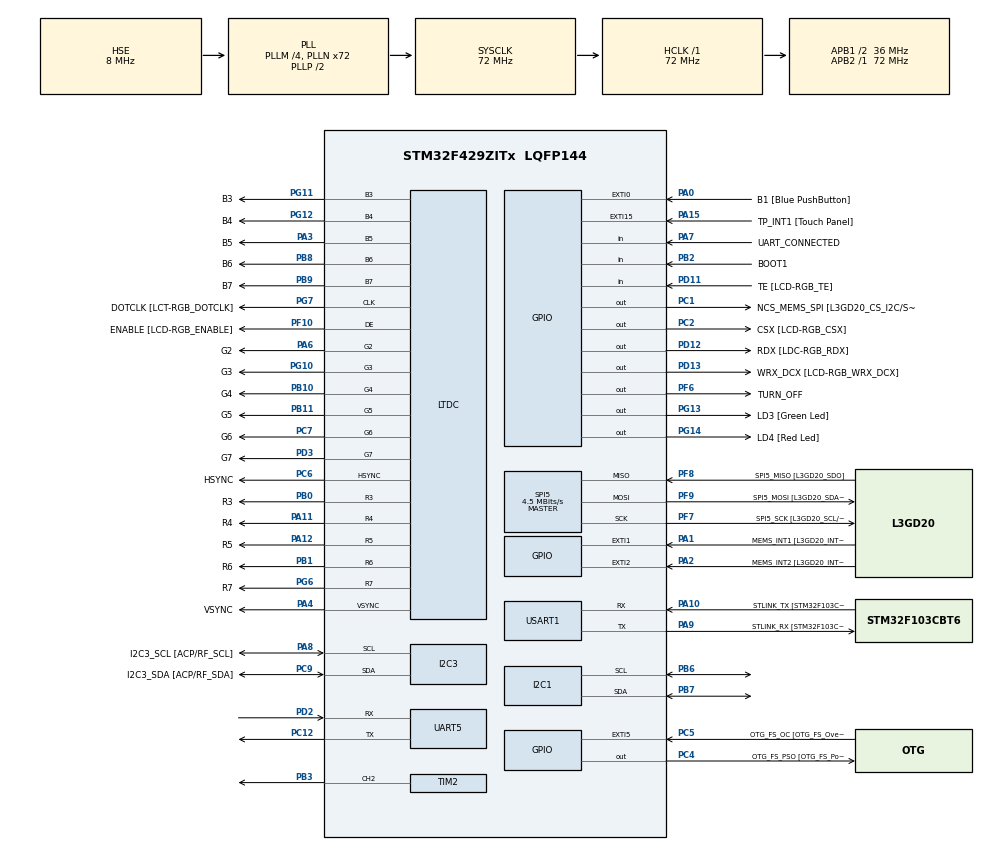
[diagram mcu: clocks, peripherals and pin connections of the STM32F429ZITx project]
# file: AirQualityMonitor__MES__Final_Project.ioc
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Dma.Request0=TIM2_CH2/CH4
Dma.TIM2_CH2/CH4.0.Direction=DMA_MEMORY_TO_PERIPH
Dma.TIM2_CH2/CH4.0.FIFOMode=DMA_FIFOMODE_DISABLE
Dma.TIM2_CH2/CH4.0.Instance=DMA1_Stream6
Dma.TIM2_CH2/CH4.0.MemDataAlignment=DMA_MDATAALIGN_WORD
Dma.TIM2_CH2/CH4.0.MemInc=DMA_MINC_ENABLE
Dma.TIM2_CH2/CH4.0.Mode=DMA_NORMAL
Dma.TIM2_CH2/CH4.0.PeriphDataAlignment=DMA_PDATAALIGN_WORD
Dma.TIM2_CH2/CH4.0.PeriphInc=DMA_PINC_DISABLE
Dma.TIM2_CH2/CH4.0.Priority=DMA_PRIORITY_VERY_HIGH
LTDC.ActiveH=320
LTDC.ActiveW=240
LTDC.Alpha_L0=255
LTDC.BlendingFactor1_L0=LTDC_BLENDING_FACTOR1_PAxCA
LTDC.BlendingFactor2_L0=LTDC_BLENDING_FACTOR2_PAxCA
LTDC.FBStartAdress_L0=0xD0000000
LTDC.HBP=20
LTDC.HFP=10
LTDC.HSync=10
LTDC.ImageHeight_L0=320
LTDC.ImageWidth_L0=240
LTDC.Layers=0
LTDC.PixelFormat_L0=LTDC_PIXEL_FORMAT_RGB565
LTDC.VFP=4
LTDC.VSync=2
LTDC.WindowX1_L0=240
LTDC.WindowY1_L0=320
Mcu.Family=STM32F4
Mcu.Name=STM32F429ZITx
Mcu.Package=LQFP144
NVIC.DMA1_Stream6_IRQn=true\:0\:0\:false\:false\:true\:false\:true\:true
NVIC.DMA2D_IRQn=true\:5\:0\:true\:false\:true\:true\:true\:true
NVIC.EXTI0_IRQn=true\:0\:0\:false\:false\:true\:true\:true\:true
NVIC.LTDC_IRQn=true\:5\:0\:true\:false\:true\:true\:true\:true
NVIC.PriorityGroup=NVIC_PRIORITYGROUP_4
NVIC.TIM6_DAC_IRQn=true\:15\:0\:false\:false\:true\:false\:true\:true
NVIC.TimeBase=TIM6_DAC_IRQn
NVIC.TimeBaseIP=TIM6
PA0/WKUP.GPIO_Label=B1 [Blue PushButton]
PA0/WKUP.GPIO_ModeDefaultEXTI=GPIO_MODE_IT_RISING
PA0/WKUP.GPIO_PuPd=GPIO_NOPULL
PA0/WKUP.Signal=GPXTI0
PA1.GPIO_Label=MEMS_INT1 [L3GD20_INT1]
PA1.GPIO_ModeDefaultEXTI=GPIO_MODE_EVT_RISING
PA1.GPIO_PuPd=GPIO_NOPULL
PA1.Signal=GPXTI1
PA10.GPIO_Label=STLINK_TX [STM32F103CBT6_PA2]
PA10.Mode=Asynchronous
PA10.Signal=USART1_RX
PA11.GPIO_Label=R4
PA11.GPIO_Mode=GPIO_MODE_AF_PP
PA11.GPIO_PuPd=GPIO_NOPULL
PA11.GPIO_Speed=GPIO_SPEED_FREQ_LOW
PA11.Mode=RGB565
PA11.Signal=LTDC_R4
PA12.GPIO_Label=R5
PA12.GPIO_Mode=GPIO_MODE_AF_PP
PA12.GPIO_PuPd=GPIO_NOPULL
PA12.GPIO_Speed=GPIO_SPEED_FREQ_LOW
PA12.Mode=RGB565
PA12.Signal=LTDC_R5
PA13.GPIO_Label=SWDIO
PA13.Mode=Serial_Wire
PA13.Signal=SYS_JTMS-SWDIO
PA14.GPIO_Label=SWCLK
PA14.Mode=Serial_Wire
PA14.Signal=SYS_JTCK-SWCLK
PA15.GPIO_Label=TP_INT1 [Touch Panel]
PA15.GPIO_ModeDefaultEXTI=GPIO_MODE_EVT_RISING
PA15.GPIO_PuPd=GPIO_NOPULL
PA15.Signal=GPXTI15
PA2.GPIO_Label=MEMS_INT2 [L3GD20_INT2]
PA2.GPIO_ModeDefaultEXTI=GPIO_MODE_EVT_RISING
PA2.GPIO_PuPd=GPIO_NOPULL
PA2.Signal=GPXTI2
PA3.GPIO_Label=B5
PA3.GPIO_Mode=GPIO_MODE_AF_PP
PA3.GPIO_PuPd=GPIO_NOPULL
PA3.GPIO_Speed=GPIO_SPEED_FREQ_LOW
PA3.Mode=RGB565
PA3.Signal=LTDC_B5
PA4.GPIO_Label=VSYNC
PA4.GPIO_Mode=GPIO_MODE_AF_PP
PA4.GPIO_PuPd=GPIO_NOPULL
PA4.GPIO_Speed=GPIO_SPEED_FREQ_LOW
PA4.Mode=RGB565
PA4.Signal=LTDC_VSYNC
PA6.GPIO_Label=G2
PA6.GPIO_Mode=GPIO_MODE_AF_PP
PA6.GPIO_PuPd=GPIO_NOPULL
PA6.GPIO_Speed=GPIO_SPEED_FREQ_LOW
PA6.Mode=RGB565
PA6.Signal=LTDC_G2
PA7.GPIO_Label=UART_CONNECTED
PA7.GPIO_PuPd=GPIO_PULLDOWN
PA7.Signal=GPIO_Input
PA8.GPIO_Label=I2C3_SCL [ACP/RF_SCL]
PA8.GPIO_Mode=GPIO_MODE_AF_OD
PA8.GPIO_Pu=GPIO_PULLUP
PA8.GPIO_PuPd=GPIO_NOPULL
PA8.GPIO_Speed=GPIO_SPEED_FREQ_LOW
PA8.Mode=I2C
PA8.Signal=I2C3_SCL
PA9.GPIO_Label=STLINK_RX [STM32F103CBT6_PA3]
PA9.Mode=Asynchronous
PA9.Signal=USART1_TX
PB0.GPIO_Label=R3
PB0.GPIO_Mode=GPIO_MODE_AF_PP
PB0.GPIO_PuPd=GPIO_NOPULL
PB0.GPIO_Speed=GPIO_SPEED_FREQ_LOW
PB0.Mode=RGB565
PB0.Signal=LTDC_R3
PB1.GPIO_Label=R6
PB1.GPIO_Mode=GPIO_MODE_AF_PP
PB1.GPIO_PuPd=GPIO_NOPULL
PB1.GPIO_Speed=GPIO_SPEED_FREQ_LOW
PB1.Mode=RGB565
PB1.Signal=LTDC_R6
PB10.GPIO_Label=G4
PB10.GPIO_Mode=GPIO_MODE_AF_PP
PB10.GPIO_PuPd=GPIO_NOPULL
PB10.GPIO_Speed=GPIO_SPEED_FREQ_LOW
PB10.Mode=RGB565
PB10.Signal=LTDC_G4
PB11.GPIO_Label=G5
PB11.GPIO_Mode=GPIO_MODE_AF_PP
PB11.GPIO_PuPd=GPIO_NOPULL
PB11.GPIO_Speed=GPIO_SPEED_FREQ_LOW
PB11.Mode=RGB565
PB11.Signal=LTDC_G5
PB12.GPIO_Label=OTG_HS_ID
PB12.GPIO_Mode=GPIO_MODE_AF_PP
PB12.GPIO_PuPd=GPIO_NOPULL
PB12.GPIO_Speed=GPIO_SPEED_FREQ_LOW
PB12.Signal=USB_OTG_HS_ID
PB13.GPIO_Label=VBUS_HS
PB13.GPIO_Mode=GPIO_MODE_INPUT
PB13.GPIO_PuPd=GPIO_NOPULL
PB13.Signal=USB_OTG_HS_VBUS
PB14.GPIO_Label=OTG_HS_DM
PB14.GPIO_Mode=GPIO_MODE_AF_PP
PB14.GPIO_PuPd=GPIO_NOPULL
PB14.GPIO_Speed=GPIO_SPEED_FREQ_LOW
PB14.Signal=USB_OTG_HS_DM
PB15.GPIO_Label=OTG_HS_DP
PB15.GPIO_Mode=GPIO_MODE_AF_PP
PB15.GPIO_PuPd=GPIO_NOPULL
PB15.GPIO_Speed=GPIO_SPEED_FREQ_LOW
PB15.Signal=USB_OTG_HS_DP
PB2/BOOT1.GPIO_Label=BOOT1
PB2/BOOT1.GPIO_Mode=GPIO_MODE_INPUT
PB2/BOOT1.GPIO_PuPd=GPIO_NOPULL
PB2/BOOT1.Signal=GPIO_Input
PB3.Signal=S_TIM2_CH2
PB5.GPIO_Label=SDCKE1
PB5.GPIO_Mode=GPIO_MODE_AF_PP
PB5.GPIO_PuPd=GPIO_NOPULL
PB5.GPIO_Speed=GPIO_SPEED_FREQ_VERY_HIGH
PB5.Signal=FMC_SDCKE1
PB6.Mode=I2C
PB6.Signal=I2C1_SCL
PB7.Mode=I2C
PB7.Signal=I2C1_SDA
PB8.GPIO_Label=B6
PB8.GPIO_Mode=GPIO_MODE_AF_PP
PB8.GPIO_PuPd=GPIO_NOPULL
PB8.GPIO_Speed=GPIO_SPEED_FREQ_LOW
PB8.Mode=RGB565
PB8.Signal=LTDC_B6
PB9.GPIO_Label=B7
PB9.GPIO_Mode=GPIO_MODE_AF_PP
PB9.GPIO_PuPd=GPIO_NOPULL
PB9.GPIO_Speed=GPIO_SPEED_FREQ_LOW
PB9.Mode=RGB565
PB9.Signal=LTDC_B7
PC0.GPIO_Label=SDNWE
PC0.GPIO_Mode=GPIO_MODE_AF_PP
PC0.GPIO_PuPd=GPIO_NOPULL
PC0.GPIO_Speed=GPIO_SPEED_FREQ_VERY_HIGH
PC0.Signal=FMC_SDNWE
PC1.GPIO_Label=NCS_MEMS_SPI [L3GD20_CS_I2C/SPI]
PC1.GPIO_Mode=GPIO_MODE_OUTPUT_PP
PC1.GPIO_PuPd=GPIO_NOPULL
PC1.GPIO_Speed=GPIO_SPEED_FREQ_LOW
PC1.Signal=GPIO_Output
PC10.GPIO_Label=R2
PC10.GPIO_Mode=GPIO_MODE_AF_PP
PC10.GPIO_PuPd=GPIO_NOPULL
PC10.GPIO_Speed=GPIO_SPEED_FREQ_LOW
PC10.Signal=LTDC_R2
PC12.Mode=Asynchronous
PC12.Signal=UART5_TX
PC14/OSC32_IN.GPIO_Label=PC14-OSC32_IN
PC14/OSC32_IN.Signal=RCC_OSC32_IN
PC15/OSC32_OUT.GPIO_Label=PC15-OSC32_OUT
PC15/OSC32_OUT.Signal=RCC_OSC32_OUT
PC2.GPIO_Label=CSX [LCD-RGB_CSX]
PC2.GPIO_Mode=GPIO_MODE_OUTPUT_PP
PC2.GPIO_PuPd=GPIO_NOPULL
PC2.GPIO_Speed=GPIO_SPEED_FREQ_LOW
PC2.Signal=GPIO_Output
PC4.GPIO_Label=OTG_FS_PSO [OTG_FS_PowerSwitchOn]
PC4.GPIO_Mode=GPIO_MODE_OUTPUT_PP
PC4.GPIO_PuPd=GPIO_NOPULL
PC4.GPIO_Speed=GPIO_SPEED_FREQ_LOW
PC4.Signal=GPIO_Output
PC5.GPIO_Label=OTG_FS_OC [OTG_FS_OverCurrent]
PC5.GPIO_ModeDefaultEXTI=GPIO_MODE_EVT_RISING
PC5.Signal=GPXTI5
PC6.GPIO_Label=HSYNC
PC6.GPIO_Mode=GPIO_MODE_AF_PP
PC6.GPIO_PuPd=GPIO_NOPULL
PC6.GPIO_Speed=GPIO_SPEED_FREQ_LOW
PC6.Mode=RGB565
PC6.Signal=LTDC_HSYNC
PC7.GPIO_Label=G6
PC7.GPIO_Mode=GPIO_MODE_AF_PP
PC7.GPIO_PuPd=GPIO_NOPULL
PC7.GPIO_Speed=GPIO_SPEED_FREQ_LOW
PC7.Mode=RGB565
PC7.Signal=LTDC_G6
PC9.GPIO_Label=I2C3_SDA [ACP/RF_SDA]
PC9.GPIO_Mode=GPIO_MODE_AF_OD
PC9.GPIO_Pu=GPIO_PULLUP
PC9.GPIO_PuPd=GPIO_NOPULL
PC9.GPIO_Speed=GPIO_SPEED_FREQ_LOW
PC9.Mode=I2C
PC9.Signal=I2C3_SDA
PD0.GPIO_Label=D2
PD0.GPIO_Mode=GPIO_MODE_AF_PP
PD0.GPIO_PuPd=GPIO_NOPULL
PD0.GPIO_Speed=GPIO_SPEED_FREQ_VERY_HIGH
PD0.Signal=FMC_D2_DA2
PD1.GPIO_Label=D3
PD1.GPIO_Mode=GPIO_MODE_AF_PP
PD1.GPIO_PuPd=GPIO_NOPULL
PD1.GPIO_Speed=GPIO_SPEED_FREQ_VERY_HIGH
PD1.Signal=FMC_D3_DA3
PD10.GPIO_Label=D15
PD10.GPIO_Mode=GPIO_MODE_AF_PP
PD10.GPIO_PuPd=GPIO_NOPULL
PD10.GPIO_Speed=GPIO_SPEED_FREQ_VERY_HIGH
PD10.Signal=FMC_D15_DA15
PD11.GPIO_Label=TE [LCD-RGB_TE]
PD11.GPIO_Mode=GPIO_MODE_INPUT
PD11.GPIO_PuPd=GPIO_NOPULL
PD11.Signal=GPIO_Input
PD12.GPIO_Label=RDX [LDC-RGB_RDX]
PD12.GPIO_Mode=GPIO_MODE_OUTPUT_PP
PD12.GPIO_PuPd=GPIO_NOPULL
PD12.GPIO_Speed=GPIO_SPEED_FREQ_LOW
PD12.Signal=GPIO_Output
PD13.GPIO_Label=WRX_DCX [LCD-RGB_WRX_DCX]
PD13.GPIO_Mode=GPIO_MODE_OUTPUT_PP
PD13.GPIO_PuPd=GPIO_NOPULL
PD13.GPIO_Speed=GPIO_SPEED_FREQ_LOW
PD13.Signal=GPIO_Output
PD14.GPIO_Label=D0
PD14.GPIO_Mode=GPIO_MODE_AF_PP
PD14.GPIO_PuPd=GPIO_NOPULL
PD14.GPIO_Speed=GPIO_SPEED_FREQ_VERY_HIGH
PD14.Signal=FMC_D0_DA0
PD15.GPIO_Label=D1
PD15.GPIO_Mode=GPIO_MODE_AF_PP
PD15.GPIO_PuPd=GPIO_NOPULL
PD15.GPIO_Speed=GPIO_SPEED_FREQ_VERY_HIGH
PD15.Signal=FMC_D1_DA1
PD2.Mode=Asynchronous
PD2.Signal=UART5_RX
PD3.GPIO_Label=G7
PD3.GPIO_Mode=GPIO_MODE_AF_PP
PD3.GPIO_PuPd=GPIO_NOPULL
PD3.GPIO_Speed=GPIO_SPEED_FREQ_LOW
PD3.Mode=RGB565
PD3.Signal=LTDC_G7
PD6.GPIO_Label=B2
PD6.GPIO_Mode=GPIO_MODE_AF_PP
PD6.GPIO_PuPd=GPIO_NOPULL
PD6.GPIO_Speed=GPIO_SPEED_FREQ_LOW
PD6.Signal=LTDC_B2
PD8.GPIO_Label=D13
PD8.GPIO_Mode=GPIO_MODE_AF_PP
PD8.GPIO_PuPd=GPIO_NOPULL
PD8.GPIO_Speed=GPIO_SPEED_FREQ_VERY_HIGH
PD8.Signal=FMC_D13_DA13
PD9.GPIO_Label=D14
PD9.GPIO_Mode=GPIO_MODE_AF_PP
PD9.GPIO_PuPd=GPIO_NOPULL
PD9.GPIO_Speed=GPIO_SPEED_FREQ_VERY_HIGH
PD9.Signal=FMC_D14_DA14
PE0.GPIO_Label=NBL0 [SDRAM_LDQM]
PE0.GPIO_Mode=GPIO_MODE_AF_PP
PE0.GPIO_PuPd=GPIO_NOPULL
PE0.GPIO_Speed=GPIO_SPEED_FREQ_VERY_HIGH
PE0.Signal=FMC_NBL0
PE1.GPIO_Label=NBL1 [SDRAM_UDQM]
PE1.GPIO_Mode=GPIO_MODE_AF_PP
PE1.GPIO_PuPd=GPIO_NOPULL
PE1.GPIO_Speed=GPIO_SPEED_FREQ_VERY_HIGH
PE1.Signal=FMC_NBL1
PE10.GPIO_Label=D7
PE10.GPIO_Mode=GPIO_MODE_AF_PP
PE10.GPIO_PuPd=GPIO_NOPULL
PE10.GPIO_Speed=GPIO_SPEED_FREQ_VERY_HIGH
PE10.Signal=FMC_D7_DA7
PE11.GPIO_Label=D8
PE11.GPIO_Mode=GPIO_MODE_AF_PP
PE11.GPIO_PuPd=GPIO_NOPULL
PE11.GPIO_Speed=GPIO_SPEED_FREQ_VERY_HIGH
PE11.Signal=FMC_D8_DA8
PE12.GPIO_Label=D9
PE12.GPIO_Mode=GPIO_MODE_AF_PP
PE12.GPIO_PuPd=GPIO_NOPULL
PE12.GPIO_Speed=GPIO_SPEED_FREQ_VERY_HIGH
PE12.Signal=FMC_D9_DA9
PE13.GPIO_Label=D10
PE13.GPIO_Mode=GPIO_MODE_AF_PP
PE13.GPIO_PuPd=GPIO_NOPULL
PE13.GPIO_Speed=GPIO_SPEED_FREQ_VERY_HIGH
PE13.Signal=FMC_D10_DA10
PE14.GPIO_Label=D11
PE14.GPIO_Mode=GPIO_MODE_AF_PP
PE14.GPIO_PuPd=GPIO_NOPULL
PE14.GPIO_Speed=GPIO_SPEED_FREQ_VERY_HIGH
PE14.Signal=FMC_D11_DA11
PE15.GPIO_Label=D12
PE15.GPIO_Mode=GPIO_MODE_AF_PP
PE15.GPIO_PuPd=GPIO_NOPULL
PE15.GPIO_Speed=GPIO_SPEED_FREQ_VERY_HIGH
PE15.Signal=FMC_D12_DA12
PE7.GPIO_Label=D4
PE7.GPIO_Mode=GPIO_MODE_AF_PP
PE7.GPIO_PuPd=GPIO_NOPULL
PE7.GPIO_Speed=GPIO_SPEED_FREQ_VERY_HIGH
PE7.Signal=FMC_D4_DA4
PE8.GPIO_Label=D5
PE8.GPIO_Mode=GPIO_MODE_AF_PP
PE8.GPIO_PuPd=GPIO_NOPULL
PE8.GPIO_Speed=GPIO_SPEED_FREQ_VERY_HIGH
PE8.Signal=FMC_D5_DA5
PE9.Signal=S_TIM1_CH1
PF0.GPIO_Label=A0
PF0.GPIO_Mode=GPIO_MODE_AF_PP
PF0.GPIO_PuPd=GPIO_NOPULL
PF0.GPIO_Speed=GPIO_SPEED_FREQ_VERY_HIGH
PF0.Signal=FMC_A0
PF1.GPIO_Label=A1
PF1.GPIO_Mode=GPIO_MODE_AF_PP
PF1.GPIO_PuPd=GPIO_NOPULL
PF1.GPIO_Speed=GPIO_SPEED_FREQ_VERY_HIGH
PF1.Signal=FMC_A1
PF10.GPIO_Label=ENABLE [LCD-RGB_ENABLE]
PF10.GPIO_Mode=GPIO_MODE_AF_PP
PF10.GPIO_PuPd=GPIO_NOPULL
PF10.GPIO_Speed=GPIO_SPEED_FREQ_LOW
PF10.Mode=RGB565
PF10.Signal=LTDC_DE
PF11.GPIO_Label=SDNRAS
PF11.GPIO_Mode=GPIO_MODE_AF_PP
PF11.GPIO_PuPd=GPIO_NOPULL
PF11.GPIO_Speed=GPIO_SPEED_FREQ_VERY_HIGH
PF11.Signal=FMC_SDNRAS
PF12.GPIO_Label=A6
PF12.GPIO_Mode=GPIO_MODE_AF_PP
PF12.GPIO_PuPd=GPIO_NOPULL
PF12.GPIO_Speed=GPIO_SPEED_FREQ_VERY_HIGH
PF12.Signal=FMC_A6
PF13.GPIO_Label=A7
PF13.GPIO_Mode=GPIO_MODE_AF_PP
PF13.GPIO_PuPd=GPIO_NOPULL
PF13.GPIO_Speed=GPIO_SPEED_FREQ_VERY_HIGH
PF13.Signal=FMC_A7
PF14.GPIO_Label=A8
PF14.GPIO_Mode=GPIO_MODE_AF_PP
PF14.GPIO_PuPd=GPIO_NOPULL
PF14.GPIO_Speed=GPIO_SPEED_FREQ_VERY_HIGH
PF14.Signal=FMC_A8
PF15.GPIO_Label=A9
PF15.GPIO_Mode=GPIO_MODE_AF_PP
PF15.GPIO_PuPd=GPIO_NOPULL
PF15.GPIO_Speed=GPIO_SPEED_FREQ_VERY_HIGH
PF15.Signal=FMC_A9
PF2.GPIO_Label=A2
PF2.GPIO_Mode=GPIO_MODE_AF_PP
PF2.GPIO_PuPd=GPIO_NOPULL
PF2.GPIO_Speed=GPIO_SPEED_FREQ_VERY_HIGH
PF2.Signal=FMC_A2
PF3.GPIO_Label=A3
PF3.GPIO_Mode=GPIO_MODE_AF_PP
PF3.GPIO_PuPd=GPIO_NOPULL
PF3.GPIO_Speed=GPIO_SPEED_FREQ_VERY_HIGH
PF3.Signal=FMC_A3
PF4.GPIO_Label=A4
PF4.GPIO_Mode=GPIO_MODE_AF_PP
PF4.GPIO_PuPd=GPIO_NOPULL
PF4.GPIO_Speed=GPIO_SPEED_FREQ_VERY_HIGH
PF4.Signal=FMC_A4
PF5.GPIO_Label=A5
PF5.GPIO_Mode=GPIO_MODE_AF_PP
PF5.GPIO_PuPd=GPIO_NOPULL
PF5.GPIO_Speed=GPIO_SPEED_FREQ_VERY_HIGH
PF5.Signal=FMC_A5
PF6.GPIO_Label=TURN_OFF
PF6.GPIO_PuPd=GPIO_PULLDOWN
PF6.Signal=GPIO_Output
PF7.GPIO_Label=SPI5_SCK [L3GD20_SCL/SPC]
PF7.GPIO_Mode=GPIO_MODE_AF_PP
PF7.GPIO_PuPd=GPIO_NOPULL
PF7.GPIO_Speed=GPIO_SPEED_FREQ_LOW
PF7.Mode=Full_Duplex_Master
PF7.Signal=SPI5_SCK
PF8.GPIO_Label=SPI5_MISO [L3GD20_SDO]
PF8.GPIO_Mode=GPIO_MODE_AF_PP
PF8.GPIO_PuPd=GPIO_NOPULL
PF8.GPIO_Speed=GPIO_SPEED_FREQ_LOW
PF8.Mode=Full_Duplex_Master
PF8.Signal=SPI5_MISO
PF9.GPIO_Label=SPI5_MOSI [L3GD20_SDA/SDI/SDO]
PF9.GPIO_Mode=GPIO_MODE_AF_PP
PF9.GPIO_PuPd=GPIO_NOPULL
PF9.GPIO_Speed=GPIO_SPEED_FREQ_LOW
PF9.Mode=Full_Duplex_Master
PF9.Signal=SPI5_MOSI
PG0.GPIO_Label=A10
PG0.GPIO_Mode=GPIO_MODE_AF_PP
PG0.GPIO_PuPd=GPIO_NOPULL
PG0.GPIO_Speed=GPIO_SPEED_FREQ_VERY_HIGH
PG0.Signal=FMC_A10
PG1.GPIO_Label=A11
PG1.GPIO_Mode=GPIO_MODE_AF_PP
PG1.GPIO_PuPd=GPIO_NOPULL
PG1.GPIO_Speed=GPIO_SPEED_FREQ_VERY_HIGH
PG1.Signal=FMC_A11
PG10.GPIO_Label=G3
PG10.GPIO_Mode=GPIO_MODE_AF_PP
PG10.GPIO_PuPd=GPIO_NOPULL
PG10.GPIO_Speed=GPIO_SPEED_FREQ_LOW
PG10.Mode=RGB565
PG10.Signal=LTDC_G3
PG11.GPIO_Label=B3
PG11.GPIO_Mode=GPIO_MODE_AF_PP
PG11.GPIO_PuPd=GPIO_NOPULL
PG11.GPIO_Speed=GPIO_SPEED_FREQ_LOW
PG11.Mode=RGB565
PG11.Signal=LTDC_B3
PG12.GPIO_Label=B4
PG12.GPIO_Mode=GPIO_MODE_AF_PP
PG12.GPIO_PuPd=GPIO_NOPULL
PG12.GPIO_Speed=GPIO_SPEED_FREQ_LOW
PG12.Mode=RGB565
PG12.Signal=LTDC_B4
PG13.GPIO_Label=LD3 [Green Led]
PG13.GPIO_Mode=GPIO_MODE_OUTPUT_PP
PG13.GPIO_PuPd=GPIO_NOPULL
PG13.GPIO_Speed=GPIO_SPEED_FREQ_LOW
PG13.Signal=GPIO_Output
PG14.GPIO_Label=LD4 [Red Led]
PG14.GPIO_Mode=GPIO_MODE_OUTPUT_PP
PG14.GPIO_PuPd=GPIO_NOPULL
PG14.GPIO_Speed=GPIO_SPEED_FREQ_LOW
PG14.Signal=GPIO_Output
PG15.GPIO_Label=SDNCAS
PG15.GPIO_Mode=GPIO_MODE_AF_PP
PG15.GPIO_PuPd=GPIO_NOPULL
PG15.GPIO_Speed=GPIO_SPEED_FREQ_VERY_HIGH
PG15.Signal=FMC_SDNCAS
PG4.GPIO_Label=BA0
PG4.GPIO_Mode=GPIO_MODE_AF_PP
PG4.GPIO_PuPd=GPIO_NOPULL
PG4.GPIO_Speed=GPIO_SPEED_FREQ_VERY_HIGH
PG4.Signal=FMC_A14_BA0
PG5.GPIO_Label=BA1
PG5.GPIO_Mode=GPIO_MODE_AF_PP
PG5.GPIO_PuPd=GPIO_NOPULL
PG5.GPIO_Speed=GPIO_SPEED_FREQ_VERY_HIGH
PG5.Signal=FMC_A15_BA1
PG6.GPIO_Label=R7
PG6.GPIO_Mode=GPIO_MODE_AF_PP
PG6.GPIO_PuPd=GPIO_NOPULL
PG6.GPIO_Speed=GPIO_SPEED_FREQ_LOW
PG6.Mode=RGB565
PG6.Signal=LTDC_R7
PG7.GPIO_Label=DOTCLK [LCT-RGB_DOTCLK]
PG7.GPIO_Mode=GPIO_MODE_AF_PP
PG7.GPIO_PuPd=GPIO_NOPULL
PG7.GPIO_Speed=GPIO_SPEED_FREQ_LOW
PG7.Mode=RGB565
PG7.Signal=LTDC_CLK
PG8.GPIO_Label=SDCLK
PG8.GPIO_Mode=GPIO_MODE_AF_PP
PG8.GPIO_PuPd=GPIO_NOPULL
PG8.GPIO_Speed=GPIO_SPEED_FREQ_VERY_HIGH
PG8.Signal=FMC_SDCLK
PH0/OSC_IN.GPIO_Label=PH0-OSC_IN
PH0/OSC_IN.Mode=HSE-External-Oscillator
PH0/OSC_IN.Signal=RCC_OSC_IN
PH1/OSC_OUT.GPIO_Label=PH1-OSC_OUT
PH1/OSC_OUT.Mode=HSE-External-Oscillator
PH1/OSC_OUT.Signal=RCC_OSC_OUT
ProjectManager.HeapSize=0x200
ProjectManager.StackSize=0x400
ProjectManager.TargetToolchain=STM32CubeIDE
RCC.48MHZClocksFreq_Value=48000000
RCC.AHBFreq_Value=72000000
RCC.APB1CLKDivider=RCC_HCLK_DIV2
RCC.APB1Freq_Value=36000000
RCC.APB1TimFreq_Value=72000000
RCC.APB2Freq_Value=72000000
RCC.APB2TimFreq_Value=72000000
RCC.CortexFreq_Value=72000000
RCC.HCLKFreq_Value=72000000
RCC.HSE_VALUE=8000000
RCC.HSI_VALUE=16000000
RCC.LSE_VALUE=32768
RCC.PLLM=4
RCC.PLLN=72
RCC.PLLQ=3
RCC.PLLSAIDivR=RCC_PLLSAIDIVR_4
RCC.PLLSAIN=72
RCC.PLLSAIR=6
RCC.PLLSourceVirtual=RCC_PLLSOURCE_HSE
RCC.SYSCLKFreq_VALUE=72000000
RCC.SYSCLKSource=RCC_SYSCLKSOURCE_PLLCLK
RCC.VCOOutputFreq_Value=144000000
SH.FMC_A0.0=FMC_A0
SH.FMC_A1.0=FMC_A1
SH.FMC_A10.0=FMC_A10
SH.FMC_A11.0=FMC_A11
SH.FMC_A14_BA0.0=FMC_BA0
SH.FMC_A15_BA1.0=FMC_BA1
SH.FMC_A2.0=FMC_A2
SH.FMC_A3.0=FMC_A3
SH.FMC_A4.0=FMC_A4
SH.FMC_A5.0=FMC_A5
SH.FMC_A6.0=FMC_A6
SH.FMC_A7.0=FMC_A7
SH.FMC_A8.0=FMC_A8
SH.FMC_A9.0=FMC_A9
SH.FMC_D0_DA0.0=FMC_D0
SH.FMC_D10_DA10.0=FMC_D10
SH.FMC_D11_DA11.0=FMC_D11
SH.FMC_D12_DA12.0=FMC_D12
SH.FMC_D13_DA13.0=FMC_D13
SH.FMC_D14_DA14.0=FMC_D14
SH.FMC_D15_DA15.0=FMC_D15
SH.FMC_D1_DA1.0=FMC_D1
SH.FMC_D2_DA2.0=FMC_D2
SH.FMC_D3_DA3.0=FMC_D3
SH.FMC_D4_DA4.0=FMC_D4
SH.FMC_D5_DA5.0=FMC_D5
SH.FMC_D7_DA7.0=FMC_D7
SH.FMC_D8_DA8.0=FMC_D8
SH.FMC_D9_DA9.0=FMC_D9
SH.FMC_NBL0.0=FMC_NBL0
SH.FMC_NBL1.0=FMC_NBL1
SH.FMC_SDCLK.0=FMC_SDCLK
SH.FMC_SDNCAS.0=FMC_SDNCAS
SH.FMC_SDNRAS.0=FMC_SDNRAS
SH.FMC_SDNWE.0=FMC_SDNWE
SH.S_TIM1_CH1.0=TIM1_CH1
SH.S_TIM2_CH2.0=TIM2_CH2,PWM Generation2 CH2
SPI5.BaudRatePrescaler=SPI_BAUDRATEPRESCALER_16
SPI5.CalculateBaudRate=4.5 MBits/s
SPI5.Direction=SPI_DIRECTION_2LINES
SPI5.Mode=SPI_MODE_MASTER
SPI5.VirtualType=VM_MASTER
STMicroelectronics.X-CUBE-TOUCHGFX.4.19.1.ApplicationCcGraphicsJjApplication=TouchGFXOoGenerator
STMicroelectronics.X-CUBE-TOUCHGFX.4.19.1.tgfx_display_interface=disp_ltdc
STMicroelectronics.X-CUBE-TOUCHGFX.4.19.1.tgfx_hardware_accelerator=dma_2d
STMicroelectronics.X-CUBE-TOUCHGFX.4.19.1.tgfx_vsync=vsync_ltdc
STMicroelectronics.X-CUBE-TOUCHGFX.4.19.1_IsPackSelfContextualization=true
TIM2.Channel-PWM\ Generation2\ CH2=TIM_CHANNEL_2
TIM2.OCFastMode_PWM-PWM\ Generation2\ CH2=TIM_OCFAST_ENABLE
TIM2.Period=90-1
UART5.VirtualMode=Asynchronous
USART1.VirtualMode=VM_ASYNC
VP_CRC_VS_CRC.Mode=CRC_Activate
VP_DMA2D_VS_DMA2D.Mode=DMA2D_Activate
VP_STMicroelectronics.X-CUBE-TOUCHGFX_VS_GraphicsJjApplication_4.19.1.Mode=GraphicsJjApplication
VP_SYS_VS_tim6.Mode=TIM6
VP_TIM1_VS_ClockSourceINT.Mode=Internal
board=STM32F429I-DISC1

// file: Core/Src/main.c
/* USER CODE BEGIN Header */
/**
  ******************************************************************************
  * @file           : main.c
  * @brief          : Main program body
  ******************************************************************************
  * @attention
  *
  * Copyright (c) 2022 STMicroelectronics.
  * All rights reserved.
  *
  * This software is licensed under terms that can be found in the LICENSE file
  * in the root directory of this software component.
  * If no LICENSE file comes with this software, it is provided AS-IS.
  *
  ******************************************************************************
   *  Created on: May 23, 2022
   *      User code author: snkYmkrct
  ******************************************************************************
 **/
/* USER CODE END Header */
#include "main.h"
#include "app_touchgfx.h"

/* USER CODE BEGIN Includes */
#include <stdio.h>
#include <stdbool.h>
#include "ili9341.h"
#include "console.h"
#include "consoleIo.h"
#include "peripheral_data.h"

/* USER CODE END Includes */

 CRC_HandleTypeDef hcrc;

DMA2D_HandleTypeDef hdma2d;

I2C_HandleTypeDef hi2c1;
I2C_HandleTypeDef hi2c3;

LTDC_HandleTypeDef hltdc;

SPI_HandleTypeDef hspi5;

TIM_HandleTypeDef htim1;
TIM_HandleTypeDef htim2;
DMA_HandleTypeDef hdma_tim2_ch2_ch4;

UART_HandleTypeDef huart5;
UART_HandleTypeDef huart1;

/* USER CODE BEGIN PV */
uint8_t isConsoleStarted = 0u;

// global variable that is set by the interrupt when button is pressed
// To the compiler :  Can't touch this!
volatile GPIO_PinState MyButtonPressed = 0u;
/* USER CODE END PV */

void SystemClock_Config(void);
static void MX_GPIO_Init(void);
static void MX_CRC_Init(void);
static void MX_DMA2D_Init(void);
static void MX_I2C3_Init(void);
static void MX_LTDC_Init(void);
static void MX_SPI5_Init(void);
static void MX_TIM1_Init(void);
static void MX_USART1_UART_Init(void);
static void MX_UART5_Init(void);
static void MX_DMA_Init(void);
static void MX_I2C1_Init(void);
static void MX_TIM2_Init(void);

/* USER CODE BEGIN 0 */
int __io_putchar(int ch) {
	HAL_UART_Transmit(&huart5, (uint8_t*)&ch, 1, HAL_MAX_DELAY);

	return ch;
}

int __io_getchar(void) {
	uint8_t ch = 0;

	HAL_UART_Receive(&huart5, &ch, 1, HAL_MAX_DELAY);

	return ch;
}
/* USER CODE END 0 */

int main(void)
{

  /* MCU Configuration--------------------------------------------------------*/

  /* Reset of all peripherals, Initializes the Flash interface and the Systick. */
  HAL_Init();

  /* Configure the system clock */
  SystemClock_Config();

  /* USER CODE BEGIN SysInit */
  setvbuf(stdin, NULL, _IONBF, 0);  // to make scanf work
  /* USER CODE END SysInit */

  /* Initialize all configured peripherals */
  MX_GPIO_Init();
  MX_CRC_Init();
  MX_DMA2D_Init();
  MX_I2C3_Init();
  MX_LTDC_Init();
  MX_SPI5_Init();
  MX_TIM1_Init();
  MX_USART1_UART_Init();
  MX_UART5_Init();
  MX_DMA_Init();
  MX_I2C1_Init();
  MX_TIM2_Init();
  MX_TouchGFX_Init();

  /* USER CODE BEGIN 2 */

  HAL_GPIO_WritePin(TURN_OFF_GPIO_Port, TURN_OFF_Pin, GPIO_PIN_RESET);
  MyButtonPressed = HAL_GPIO_ReadPin(B1_GPIO_Port, B1_Pin);

  peripheralInitValues();

  /* USER CODE END 2 */

  /* Infinite loop */
  /* USER CODE BEGIN WHILE */
  while (1)
  {
	  GPIO_PinState UartPinConnected = HAL_GPIO_ReadPin(UART_CONNECTED_GPIO_Port, UART_CONNECTED_Pin);
	  HAL_GPIO_WritePin(LD3_GPIO_Port, LD3_Pin, UartPinConnected);

	  if (MyButtonPressed == GPIO_PIN_SET){
		  if (isConsoleStarted){
			  printf("   User button pressed   \r\n");
			  ConsoleIoSendString(STR_ENDLINE);
			  ConsoleIoSendString(CONSOLE_PROMPT);
		  }
		  else {
			  if (UartPinConnected == GPIO_PIN_SET){
				  ConsoleInit();
				  ConsoleIoSendString(STR_ENDLINE);
				  ConsoleIoSendString(CONSOLE_PROMPT);
				  isConsoleStarted = 1u;
			  }
			  else {
				  // test turn off pin
				  HAL_GPIO_WritePin(TURN_OFF_GPIO_Port, TURN_OFF_Pin, GPIO_PIN_SET);
			  }
		  }
		  MyButtonPressed = GPIO_PIN_RESET;
	  }

	  if (isConsoleStarted){
		  ConsoleProcess();
	  }
	  else {
		  peripheralUpdateValues();
		  peripheralUpdateNeopixelsfromCO2();
	  }

    /* USER CODE END WHILE */

  MX_TouchGFX_Process();
  }
}

void SystemClock_Config(void)
{
  RCC_OscInitTypeDef RCC_OscInitStruct = {0};
  RCC_ClkInitTypeDef RCC_ClkInitStruct = {0};

  /** Configure the main internal regulator output voltage
  */
  __HAL_RCC_PWR_CLK_ENABLE();
  __HAL_PWR_VOLTAGESCALING_CONFIG(PWR_REGULATOR_VOLTAGE_SCALE3);

  /** Initializes the RCC Oscillators according to the specified parameters
  * in the RCC_OscInitTypeDef structure.
  */
  RCC_OscInitStruct.OscillatorType = RCC_OSCILLATORTYPE_HSE;
  RCC_OscInitStruct.HSEState = RCC_HSE_ON;
  RCC_OscInitStruct.PLL.PLLState = RCC_PLL_ON;
  RCC_OscInitStruct.PLL.PLLSource = RCC_PLLSOURCE_HSE;
  RCC_OscInitStruct.PLL.PLLM = 4;
  RCC_OscInitStruct.PLL.PLLN = 72;
  RCC_OscInitStruct.PLL.PLLP = RCC_PLLP_DIV2;
  RCC_OscInitStruct.PLL.PLLQ = 3;
  if (HAL_RCC_OscConfig(&RCC_OscInitStruct) != HAL_OK)
  {
    Error_Handler();
  }

  /** Initializes the CPU, AHB and APB buses clocks
  */
  RCC_ClkInitStruct.ClockType = RCC_CLOCKTYPE_HCLK|RCC_CLOCKTYPE_SYSCLK
                              |RCC_CLOCKTYPE_PCLK1|RCC_CLOCKTYPE_PCLK2;
  RCC_ClkInitStruct.SYSCLKSource = RCC_SYSCLKSOURCE_PLLCLK;
  RCC_ClkInitStruct.AHBCLKDivider = RCC_SYSCLK_DIV1;
  RCC_ClkInitStruct.APB1CLKDivider = RCC_HCLK_DIV2;
  RCC_ClkInitStruct.APB2CLKDivider = RCC_HCLK_DIV1;

  if (HAL_RCC_ClockConfig(&RCC_ClkInitStruct, FLASH_LATENCY_2) != HAL_OK)
  {
    Error_Handler();
  }
}

static void MX_CRC_Init(void)
{

  hcrc.Instance = CRC;
  if (HAL_CRC_Init(&hcrc) != HAL_OK)
  {
    Error_Handler();
  }

}

static void MX_DMA2D_Init(void)
{

  hdma2d.Instance = DMA2D;
  hdma2d.Init.Mode = DMA2D_M2M;
  hdma2d.Init.ColorMode = DMA2D_OUTPUT_ARGB8888;
  hdma2d.Init.OutputOffset = 0;
  hdma2d.LayerCfg[1].InputOffset = 0;
  hdma2d.LayerCfg[1].InputColorMode = DMA2D_INPUT_ARGB8888;
  hdma2d.LayerCfg[1].AlphaMode = DMA2D_NO_MODIF_ALPHA;
  hdma2d.LayerCfg[1].InputAlpha = 0;
  if (HAL_DMA2D_Init(&hdma2d) != HAL_OK)
  {
    Error_Handler();
  }
  if (HAL_DMA2D_ConfigLayer(&hdma2d, 1) != HAL_OK)
  {
    Error_Handler();
  }

}

static void MX_I2C1_Init(void)
{

  hi2c1.Instance = I2C1;
  hi2c1.Init.ClockSpeed = 100000;
  hi2c1.Init.DutyCycle = I2C_DUTYCYCLE_2;
  hi2c1.Init.OwnAddress1 = 0;
  hi2c1.Init.AddressingMode = I2C_ADDRESSINGMODE_7BIT;
  hi2c1.Init.DualAddressMode = I2C_DUALADDRESS_DISABLE;
  hi2c1.Init.OwnAddress2 = 0;
  hi2c1.Init.GeneralCallMode = I2C_GENERALCALL_DISABLE;
  hi2c1.Init.NoStretchMode = I2C_NOSTRETCH_DISABLE;
  if (HAL_I2C_Init(&hi2c1) != HAL_OK)
  {
    Error_Handler();
  }

  /** Configure Analogue filter
  */
  if (HAL_I2CEx_ConfigAnalogFilter(&hi2c1, I2C_ANALOGFILTER_ENABLE) != HAL_OK)
  {
    Error_Handler();
  }

  /** Configure Digital filter
  */
  if (HAL_I2CEx_ConfigDigitalFilter(&hi2c1, 0) != HAL_OK)
  {
    Error_Handler();
  }

}

static void MX_I2C3_Init(void)
{

  hi2c3.Instance = I2C3;
  hi2c3.Init.ClockSpeed = 100000;
  hi2c3.Init.DutyCycle = I2C_DUTYCYCLE_2;
  hi2c3.Init.OwnAddress1 = 0;
  hi2c3.Init.AddressingMode = I2C_ADDRESSINGMODE_7BIT;
  hi2c3.Init.DualAddressMode = I2C_DUALADDRESS_DISABLE;
  hi2c3.Init.OwnAddress2 = 0;
  hi2c3.Init.GeneralCallMode = I2C_GENERALCALL_DISABLE;
  hi2c3.Init.NoStretchMode = I2C_NOSTRETCH_DISABLE;
  if (HAL_I2C_Init(&hi2c3) != HAL_OK)
  {
    Error_Handler();
  }

  /** Configure Analogue filter
  */
  if (HAL_I2CEx_ConfigAnalogFilter(&hi2c3, I2C_ANALOGFILTER_ENABLE) != HAL_OK)
  {
    Error_Handler();
  }

  /** Configure Digital filter
  */
  if (HAL_I2CEx_ConfigDigitalFilter(&hi2c3, 0) != HAL_OK)
  {
    Error_Handler();
  }

}

static void MX_LTDC_Init(void)
{

  /* USER CODE BEGIN LTDC_Init 0 */
	ili9341_drv.Init();
  /* USER CODE END LTDC_Init 0 */

  LTDC_LayerCfgTypeDef pLayerCfg = {0};

  hltdc.Instance = LTDC;
  hltdc.Init.HSPolarity = LTDC_HSPOLARITY_AL;
  hltdc.Init.VSPolarity = LTDC_VSPOLARITY_AL;
  hltdc.Init.DEPolarity = LTDC_DEPOLARITY_AL;
  hltdc.Init.PCPolarity = LTDC_PCPOLARITY_IPC;
  hltdc.Init.HorizontalSync = 9;
  hltdc.Init.VerticalSync = 1;
  hltdc.Init.AccumulatedHBP = 29;
  hltdc.Init.AccumulatedVBP = 3;
  hltdc.Init.AccumulatedActiveW = 269;
  hltdc.Init.AccumulatedActiveH = 323;
  hltdc.Init.TotalWidth = 279;
  hltdc.Init.TotalHeigh = 327;
  hltdc.Init.Backcolor.Blue = 0;
  hltdc.Init.Backcolor.Green = 0;
  hltdc.Init.Backcolor.Red = 0;
  if (HAL_LTDC_Init(&hltdc) != HAL_OK)
  {
    Error_Handler();
  }
  pLayerCfg.WindowX0 = 0;
  pLayerCfg.WindowX1 = 240;
  pLayerCfg.WindowY0 = 0;
  pLayerCfg.WindowY1 = 320;
  pLayerCfg.PixelFormat = LTDC_PIXEL_FORMAT_RGB565;
  pLayerCfg.Alpha = 255;
  pLayerCfg.Alpha0 = 0;
  pLayerCfg.BlendingFactor1 = LTDC_BLENDING_FACTOR1_PAxCA;
  pLayerCfg.BlendingFactor2 = LTDC_BLENDING_FACTOR2_PAxCA;
  pLayerCfg.FBStartAdress = 0xD0000000;
  pLayerCfg.ImageWidth = 240;
  pLayerCfg.ImageHeight = 320;
  pLayerCfg.Backcolor.Blue = 0;
  pLayerCfg.Backcolor.Green = 0;
  pLayerCfg.Backcolor.Red = 0;
  if (HAL_LTDC_ConfigLayer(&hltdc, &pLayerCfg, 0) != HAL_OK)
  {
    Error_Handler();
  }

}

static void MX_SPI5_Init(void)
{

  /* SPI5 parameter configuration*/
  hspi5.Instance = SPI5;
  hspi5.Init.Mode = SPI_MODE_MASTER;
  hspi5.Init.Direction = SPI_DIRECTION_2LINES;
  hspi5.Init.DataSize = SPI_DATASIZE_8BIT;
  hspi5.Init.CLKPolarity = SPI_POLARITY_LOW;
  hspi5.Init.CLKPhase = SPI_PHASE_1EDGE;
  hspi5.Init.NSS = SPI_NSS_SOFT;
  hspi5.Init.BaudRatePrescaler = SPI_BAUDRATEPRESCALER_16;
  hspi5.Init.FirstBit = SPI_FIRSTBIT_MSB;
  hspi5.Init.TIMode = SPI_TIMODE_DISABLE;
  hspi5.Init.CRCCalculation = SPI_CRCCALCULATION_DISABLE;
  hspi5.Init.CRCPolynomial = 10;
  if (HAL_SPI_Init(&hspi5) != HAL_OK)
  {
    Error_Handler();
  }

}

static void MX_TIM1_Init(void)
{

  TIM_ClockConfigTypeDef sClockSourceConfig = {0};
  TIM_MasterConfigTypeDef sMasterConfig = {0};

  htim1.Instance = TIM1;
  htim1.Init.Prescaler = 0;
  htim1.Init.CounterMode = TIM_COUNTERMODE_UP;
  htim1.Init.Period = 65535;
  htim1.Init.ClockDivision = TIM_CLOCKDIVISION_DIV1;
  htim1.Init.RepetitionCounter = 0;
  htim1.Init.AutoReloadPreload = TIM_AUTORELOAD_PRELOAD_DISABLE;
  if (HAL_TIM_Base_Init(&htim1) != HAL_OK)
  {
    Error_Handler();
  }
  sClockSourceConfig.ClockSource = TIM_CLOCKSOURCE_INTERNAL;
  if (HAL_TIM_ConfigClockSource(&htim1, &sClockSourceConfig) != HAL_OK)
  {
    Error_Handler();
  }
  sMasterConfig.MasterOutputTrigger = TIM_TRGO_RESET;
  sMasterConfig.MasterSlaveMode = TIM_MASTERSLAVEMODE_DISABLE;
  if (HAL_TIMEx_MasterConfigSynchronization(&htim1, &sMasterConfig) != HAL_OK)
  {
    Error_Handler();
  }

}

static void MX_TIM2_Init(void)
{

  TIM_MasterConfigTypeDef sMasterConfig = {0};
  TIM_OC_InitTypeDef sConfigOC = {0};

  htim2.Instance = TIM2;
  htim2.Init.Prescaler = 0;
  htim2.Init.CounterMode = TIM_COUNTERMODE_UP;
  htim2.Init.Period = 90-1;
  htim2.Init.ClockDivision = TIM_CLOCKDIVISION_DIV1;
  htim2.Init.AutoReloadPreload = TIM_AUTORELOAD_PRELOAD_DISABLE;
  if (HAL_TIM_PWM_Init(&htim2) != HAL_OK)
  {
    Error_Handler();
  }
  sMasterConfig.MasterOutputTrigger = TIM_TRGO_RESET;
  sMasterConfig.MasterSlaveMode = TIM_MASTERSLAVEMODE_DISABLE;
  if (HAL_TIMEx_MasterConfigSynchronization(&htim2, &sMasterConfig) != HAL_OK)
  {
    Error_Handler();
  }
  sConfigOC.OCMode = TIM_OCMODE_PWM1;
  sConfigOC.Pulse = 0;
  sConfigOC.OCPolarity = TIM_OCPOLARITY_HIGH;
  sConfigOC.OCFastMode = TIM_OCFAST_ENABLE;
  if (HAL_TIM_PWM_ConfigChannel(&htim2, &sConfigOC, TIM_CHANNEL_2) != HAL_OK)
  {
    Error_Handler();
  }
  HAL_TIM_MspPostInit(&htim2);

}

static void MX_UART5_Init(void)
{

  huart5.Instance = UART5;
  huart5.Init.BaudRate = 115200;
  huart5.Init.WordLength = UART_WORDLENGTH_8B;
  huart5.Init.StopBits = UART_STOPBITS_1;
  huart5.Init.Parity = UART_PARITY_NONE;
  huart5.Init.Mode = UART_MODE_TX_RX;
  huart5.Init.HwFlowCtl = UART_HWCONTROL_NONE;
  huart5.Init.OverSampling = UART_OVERSAMPLING_16;
  if (HAL_UART_Init(&huart5) != HAL_OK)
  {
    Error_Handler();
  }

}

static void MX_USART1_UART_Init(void)
{

  huart1.Instance = USART1;
  huart1.Init.BaudRate = 115200;
  huart1.Init.WordLength = UART_WORDLENGTH_8B;
  huart1.Init.StopBits = UART_STOPBITS_1;
  huart1.Init.Parity = UART_PARITY_NONE;
  huart1.Init.Mode = UART_MODE_TX_RX;
  huart1.Init.HwFlowCtl = UART_HWCONTROL_NONE;
  huart1.Init.OverSampling = UART_OVERSAMPLING_16;
  if (HAL_UART_Init(&huart1) != HAL_OK)
  {
    Error_Handler();
  }

}

static void MX_DMA_Init(void)
{

  /* DMA controller clock enable */
  __HAL_RCC_DMA1_CLK_ENABLE();

  /* DMA interrupt init */
  /* DMA1_Stream6_IRQn interrupt configuration */
  HAL_NVIC_SetPriority(DMA1_Stream6_IRQn, 0, 0);
  HAL_NVIC_EnableIRQ(DMA1_Stream6_IRQn);

}

static void MX_GPIO_Init(void)
{
  GPIO_InitTypeDef GPIO_InitStruct = {0};

  /* GPIO Ports Clock Enable */
  __HAL_RCC_GPIOC_CLK_ENABLE();
  __HAL_RCC_GPIOF_CLK_ENABLE();
  __HAL_RCC_GPIOH_CLK_ENABLE();
  __HAL_RCC_GPIOA_CLK_ENABLE();
  __HAL_RCC_GPIOB_CLK_ENABLE();
  __HAL_RCC_GPIOG_CLK_ENABLE();
  __HAL_RCC_GPIOE_CLK_ENABLE();
  __HAL_RCC_GPIOD_CLK_ENABLE();

  /*Configure GPIO pin Output Level */
  HAL_GPIO_WritePin(TURN_OFF_GPIO_Port, TURN_OFF_Pin, GPIO_PIN_RESET);

  /*Configure GPIO pin Output Level */
  HAL_GPIO_WritePin(GPIOC, NCS_MEMS_SPI_Pin|CSX_Pin|OTG_FS_PSO_Pin, GPIO_PIN_RESET);

  /*Configure GPIO pin Output Level */
  HAL_GPIO_WritePin(GPIOD, RDX_Pin|WRX_DCX_Pin, GPIO_PIN_RESET);

  /*Configure GPIO pin Output Level */
  HAL_GPIO_WritePin(GPIOG, LD3_Pin|LD4_Pin, GPIO_PIN_RESET);

  /*Configure GPIO pins : A0_Pin A1_Pin A2_Pin A3_Pin
                           A4_Pin A5_Pin SDNRAS_Pin A6_Pin
                           A7_Pin A8_Pin A9_Pin */
  GPIO_InitStruct.Pin = A0_Pin|A1_Pin|A2_Pin|A3_Pin
                          |A4_Pin|A5_Pin|SDNRAS_Pin|A6_Pin
                          |A7_Pin|A8_Pin|A9_Pin;
  GPIO_InitStruct.Mode = GPIO_MODE_AF_PP;
  GPIO_InitStruct.Pull = GPIO_NOPULL;
  GPIO_InitStruct.Speed = GPIO_SPEED_FREQ_VERY_HIGH;
  GPIO_InitStruct.Alternate = GPIO_AF12_FMC;
  HAL_GPIO_Init(GPIOF, &GPIO_InitStruct);

  /*Configure GPIO pin : TURN_OFF_Pin */
  GPIO_InitStruct.Pin = TURN_OFF_Pin;
  GPIO_InitStruct.Mode = GPIO_MODE_OUTPUT_PP;
  GPIO_InitStruct.Pull = GPIO_PULLDOWN;
  GPIO_InitStruct.Speed = GPIO_SPEED_FREQ_LOW;
  HAL_GPIO_Init(TURN_OFF_GPIO_Port, &GPIO_InitStruct);

  /*Configure GPIO pin : SDNWE_Pin */
  GPIO_InitStruct.Pin = SDNWE_Pin;
  GPIO_InitStruct.Mode = GPIO_MODE_AF_PP;
  GPIO_InitStruct.Pull = GPIO_NOPULL;
  GPIO_InitStruct.Speed = GPIO_SPEED_FREQ_VERY_HIGH;
  GPIO_InitStruct.Alternate = GPIO_AF12_FMC;
  HAL_GPIO_Init(SDNWE_GPIO_Port, &GPIO_InitStruct);

  /*Configure GPIO pins : NCS_MEMS_SPI_Pin CSX_Pin OTG_FS_PSO_Pin */
  GPIO_InitStruct.Pin = NCS_MEMS_SPI_Pin|CSX_Pin|OTG_FS_PSO_Pin;
  GPIO_InitStruct.Mode = GPIO_MODE_OUTPUT_PP;
  GPIO_InitStruct.Pull = GPIO_NOPULL;
  GPIO_InitStruct.Speed = GPIO_SPEED_FREQ_LOW;
  HAL_GPIO_Init(GPIOC, &GPIO_InitStruct);

  /*Configure GPIO pin : B1_Pin */
  GPIO_InitStruct.Pin = B1_Pin;
  GPIO_InitStruct.Mode = GPIO_MODE_IT_RISING;
  GPIO_InitStruct.Pull = GPIO_NOPULL;
  HAL_GPIO_Init(B1_GPIO_Port, &GPIO_InitStruct);

  /*Configure GPIO pins : MEMS_INT1_Pin MEMS_INT2_Pin TP_INT1_Pin */
  GPIO_InitStruct.Pin = MEMS_INT1_Pin|MEMS_INT2_Pin|TP_INT1_Pin;
  GPIO_InitStruct.Mode = GPIO_MODE_EVT_RISING;
  GPIO_InitStruct.Pull = GPIO_NOPULL;
  HAL_GPIO_Init(GPIOA, &GPIO_InitStruct);

  /*Configure GPIO pin : UART_CONNECTED_Pin */
  GPIO_InitStruct.Pin = UART_CONNECTED_Pin;
  GPIO_InitStruct.Mode = GPIO_MODE_INPUT;
  GPIO_InitStruct.Pull = GPIO_PULLDOWN;
  HAL_GPIO_Init(UART_CONNECTED_GPIO_Port, &GPIO_InitStruct);

  /*Configure GPIO pin : OTG_FS_OC_Pin */
  GPIO_InitStruct.Pin = OTG_FS_OC_Pin;
  GPIO_InitStruct.Mode = GPIO_MODE_EVT_RISING;
  GPIO_InitStruct.Pull = GPIO_NOPULL;
  HAL_GPIO_Init(OTG_FS_OC_GPIO_Port, &GPIO_InitStruct);

  /*Configure GPIO pin : BOOT1_Pin */
  GPIO_InitStruct.Pin = BOOT1_Pin;
  GPIO_InitStruct.Mode = GPIO_MODE_INPUT;
  GPIO_InitStruct.Pull = GPIO_NOPULL;
  HAL_GPIO_Init(BOOT1_GPIO_Port, &GPIO_InitStruct);

  /*Configure GPIO pins : A10_Pin A11_Pin BA0_Pin BA1_Pin
                           SDCLK_Pin SDNCAS_Pin */
  GPIO_InitStruct.Pin = A10_Pin|A11_Pin|BA0_Pin|BA1_Pin
                          |SDCLK_Pin|SDNCAS_Pin;
  GPIO_InitStruct.Mode = GPIO_MODE_AF_PP;
  GPIO_InitStruct.Pull = GPIO_NOPULL;
  GPIO_InitStruct.Speed = GPIO_SPEED_FREQ_VERY_HIGH;
  GPIO_InitStruct.Alternate = GPIO_AF12_FMC;
  HAL_GPIO_Init(GPIOG, &GPIO_InitStruct);

  /*Configure GPIO pins : D4_Pin D5_Pin D7_Pin D8_Pin
                           D9_Pin D10_Pin D11_Pin D12_Pin
                           NBL0_Pin NBL1_Pin */
  GPIO_InitStruct.Pin = D4_Pin|D5_Pin|D7_Pin|D8_Pin
                          |D9_Pin|D10_Pin|D11_Pin|D12_Pin
                          |NBL0_Pin|NBL1_Pin;
  GPIO_InitStruct.Mode = GPIO_MODE_AF_PP;
  GPIO_InitStruct.Pull = GPIO_NOPULL;
  GPIO_InitStruct.Speed = GPIO_SPEED_FREQ_VERY_HIGH;
  GPIO_InitStruct.Alternate = GPIO_AF12_FMC;
  HAL_GPIO_Init(GPIOE, &GPIO_InitStruct);

  /*Configure GPIO pins : OTG_HS_ID_Pin OTG_HS_DM_Pin OTG_HS_DP_Pin */
  GPIO_InitStruct.Pin = OTG_HS_ID_Pin|OTG_HS_DM_Pin|OTG_HS_DP_Pin;
  GPIO_InitStruct.Mode = GPIO_MODE_AF_PP;
  GPIO_InitStruct.Pull = GPIO_NOPULL;
  GPIO_InitStruct.Speed = GPIO_SPEED_FREQ_LOW;
  GPIO_InitStruct.Alternate = GPIO_AF12_OTG_HS_FS;
  HAL_GPIO_Init(GPIOB, &GPIO_InitStruct);

  /*Configure GPIO pin : VBUS_HS_Pin */
  GPIO_InitStruct.Pin = VBUS_HS_Pin;
  GPIO_InitStruct.Mode = GPIO_MODE_INPUT;
  GPIO_InitStruct.Pull = GPIO_NOPULL;
  HAL_GPIO_Init(VBUS_HS_GPIO_Port, &GPIO_InitStruct);

  /*Configure GPIO pins : D13_Pin D14_Pin D15_Pin D0_Pin
                           D1_Pin D2_Pin D3_Pin */
  GPIO_InitStruct.Pin = D13_Pin|D14_Pin|D15_Pin|D0_Pin
                          |D1_Pin|D2_Pin|D3_Pin;
  GPIO_InitStruct.Mode = GPIO_MODE_AF_PP;
  GPIO_InitStruct.Pull = GPIO_NOPULL;
  GPIO_InitStruct.Speed = GPIO_SPEED_FREQ_VERY_HIGH;
  GPIO_InitStruct.Alternate = GPIO_AF12_FMC;
  HAL_GPIO_Init(GPIOD, &GPIO_InitStruct);

  /*Configure GPIO pin : TE_Pin */
  GPIO_InitStruct.Pin = TE_Pin;
  GPIO_InitStruct.Mode = GPIO_MODE_INPUT;
  GPIO_InitStruct.Pull = GPIO_NOPULL;
  HAL_GPIO_Init(TE_GPIO_Port, &GPIO_InitStruct);

  /*Configure GPIO pins : RDX_Pin WRX_DCX_Pin */
  GPIO_InitStruct.Pin = RDX_Pin|WRX_DCX_Pin;
  GPIO_InitStruct.Mode = GPIO_MODE_OUTPUT_PP;
  GPIO_InitStruct.Pull = GPIO_NOPULL;
  GPIO_InitStruct.Speed = GPIO_SPEED_FREQ_LOW;
  HAL_GPIO_Init(GPIOD, &GPIO_InitStruct);

  /*Configure GPIO pins : LD3_Pin LD4_Pin */
  GPIO_InitStruct.Pin = LD3_Pin|LD4_Pin;
  GPIO_InitStruct.Mode = GPIO_MODE_OUTPUT_PP;
  GPIO_InitStruct.Pull = GPIO_NOPULL;
  GPIO_InitStruct.Speed = GPIO_SPEED_FREQ_LOW;
  HAL_GPIO_Init(GPIOG, &GPIO_InitStruct);

  /*Configure GPIO pin : SDCKE1_Pin */
  GPIO_InitStruct.Pin = SDCKE1_Pin;
  GPIO_InitStruct.Mode = GPIO_MODE_AF_PP;
  GPIO_InitStruct.Pull = GPIO_NOPULL;
  GPIO_InitStruct.Speed = GPIO_SPEED_FREQ_VERY_HIGH;
  GPIO_InitStruct.Alternate = GPIO_AF12_FMC;
  HAL_GPIO_Init(SDCKE1_GPIO_Port, &GPIO_InitStruct);

  /* EXTI interrupt init*/
  HAL_NVIC_SetPriority(EXTI0_IRQn, 0, 0);
  HAL_NVIC_EnableIRQ(EXTI0_IRQn);

}

/* USER CODE BEGIN 4 */

// function that handles the interrupts in GPIO
// implementation of a __weak function in the HAL
void HAL_GPIO_EXTI_Callback(uint16_t GPIO_Pin){

	if (GPIO_Pin == B1_Pin){
		// set the global variable when board button B1 is pressed
		// Stop! Hammer time!
		MyButtonPressed = GPIO_PIN_SET;
	}

}
/* USER CODE END 4 */

void HAL_TIM_PeriodElapsedCallback(TIM_HandleTypeDef *htim)
{
  if (htim->Instance == TIM6) {
    HAL_IncTick();
  }
}

void Error_Handler(void)
{
  __disable_irq();
  while (1)
  {
  }
}
